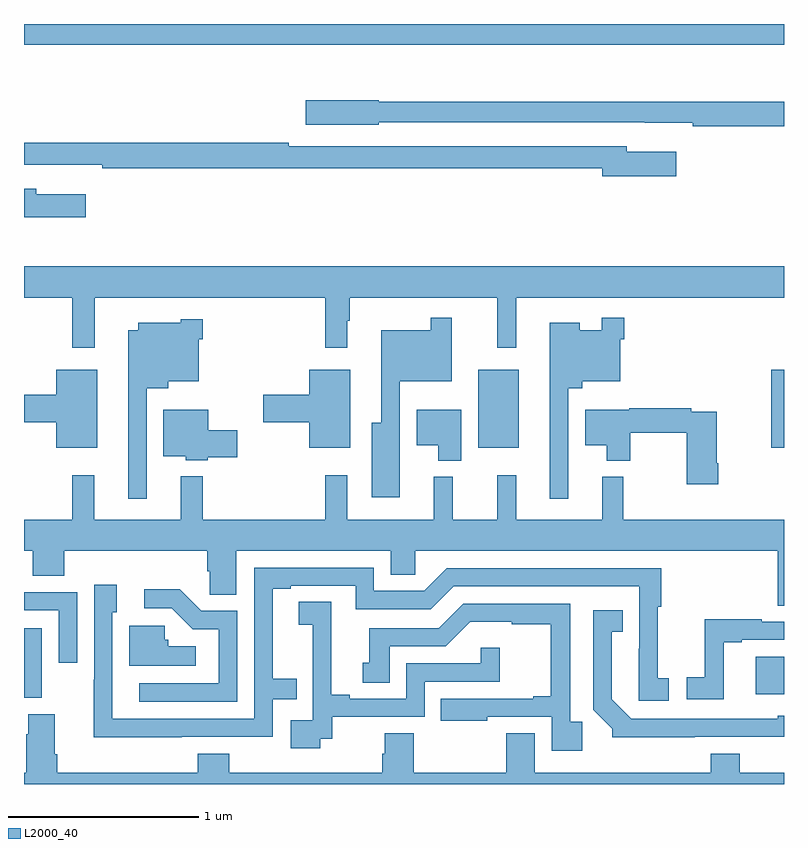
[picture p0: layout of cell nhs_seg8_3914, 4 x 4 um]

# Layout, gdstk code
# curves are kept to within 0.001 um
import gdstk
lib = gdstk.Library(unit=1e-6, precision=1e-09)
def R(c, l, rs):  # rectangles x0, y0, x1, y1
    for r in rs: c.add(gdstk.rectangle(r[:2], r[2:], *l))
def P(c, l, *ps):  # polygons
    for p in ps: c.add(gdstk.Polygon(p, *l))
L2000_40 = (2000, 40)

nhs_seg8_3914 = lib.new_cell('nhs_seg8_3914')
R(nhs_seg8_3914, L2000_40, [(351,1154.353,351.094,1154.719), (354.851,1154.372,355,1154.569), (353.39,1155.671,353.605,1156.081), (354.932,1155.671,355,1156.081), (351,1157.792,355,1157.9)])
P(nhs_seg8_3914, L2000_40, [(355,1157.491),(352.866,1157.491),(352.866,1157.499),(352.482,1157.499),(352.482,1157.369),(352.866,1157.369),(352.866,1157.382),(354.268,1157.382),(354.268,1157.381),(354.52,1157.381),(354.52,1157.362),(355,1157.362)],
  [(354.433,1157.227),(354.172,1157.227),(354.172,1157.256),(352.394,1157.256),(352.394,1157.276),(351,1157.276),(351,1157.16),(351.16,1157.16),(351.16,1157.159),(351.412,1157.159),(351.412,1157.14),(354.044,1157.14),(354.044,1157.098),(354.433,1157.098)],
  [(351.325,1157.005),(351.064,1157.005),(351.064,1157.034),(351,1157.034),(351,1156.883),(351.325,1156.883)],
  [(351.372,1156.46),(352.585,1156.46),(352.585,1156.197),(352.702,1156.197),(352.702,1156.337),(352.714,1156.337),(352.714,1156.46),(353.491,1156.46),(353.491,1156.197),(353.59,1156.197),(353.59,1156.46),(355,1156.46),(355,1156.624),(351,1156.624),(351,1156.46),(351.253,1156.46),(351.253,1156.197),(351.372,1156.197)],
  [(352.978,1156.019),(353.25,1156.019),(353.25,1156.354),(353.142,1156.354),(353.142,1156.288),(352.88,1156.288),(352.88,1155.802),(352.829,1155.802),(352.829,1155.41),(352.978,1155.41)],
  [(353.865,1155.983),(353.939,1155.983),(353.939,1156.019),(354.138,1156.019),(354.138,1156.241),(354.158,1156.241),(354.158,1156.354),(354.042,1156.354),(354.042,1156.288),(353.926,1156.288),(353.926,1156.327),(353.768,1156.327),(353.768,1155.402),(353.865,1155.402)],
  [(351.645,1155.983),(351.76,1155.983),(351.76,1156.019),(351.919,1156.019),(351.919,1156.241),(351.941,1156.241),(351.941,1156.345),(351.825,1156.345),(351.825,1156.327),(351.602,1156.327),(351.602,1156.288),(351.548,1156.288),(351.548,1155.402),(351.645,1155.402)],
  [(352.717,1156.081),(352.502,1156.081),(352.502,1155.95),(352.26,1155.95),(352.26,1155.803),(352.502,1155.803),(352.502,1155.671),(352.717,1155.671)],
  [(351.385,1156.081),(351.17,1156.081),(351.17,1155.95),(351,1155.95),(351,1155.803),(351.17,1155.803),(351.17,1155.671),(351.385,1155.671)],
  [(354.654,1155.589),(354.646,1155.589),(354.646,1155.858),(354.512,1155.858),(354.512,1155.878),(354.186,1155.878),(354.186,1155.871),(353.954,1155.871),(353.954,1155.683),(354.068,1155.683),(354.068,1155.602),(354.19,1155.602),(354.19,1155.75),(354.488,1155.75),(354.488,1155.477),(354.654,1155.477)],
  [(353.302,1155.871),(353.066,1155.871),(353.066,1155.683),(353.18,1155.683),(353.18,1155.602),(353.302,1155.602)],
  [(351.966,1155.619),(352.123,1155.619),(352.123,1155.761),(351.97,1155.761),(351.97,1155.871),(351.734,1155.871),(351.734,1155.626),(351.852,1155.626),(351.852,1155.605),(351.966,1155.605)],
  [(355,1155.292),(354.154,1155.292),(354.154,1155.517),(354.044,1155.517),(354.044,1155.292),(353.591,1155.292),(353.591,1155.526),(353.491,1155.526),(353.491,1155.292),(353.256,1155.292),(353.256,1155.517),(353.156,1155.517),(353.156,1155.292),(352.701,1155.292),(352.701,1155.526),(352.585,1155.526),(352.585,1155.292),(351.941,1155.292),(351.941,1155.52),(351.824,1155.52),(351.824,1155.292),(351.371,1155.292),(351.371,1155.526),(351.253,1155.526),(351.253,1155.292),(351,1155.292),(351,1155.128),(351.047,1155.128),(351.047,1154.995),(351.212,1154.995),(351.212,1155.128),(351.965,1155.128),(351.965,1155.019),(351.978,1155.019),(351.978,1154.896),(352.117,1154.896),(352.117,1155.128),(352.931,1155.128),(352.931,1155.001),(353.058,1155.001),(353.058,1155.128),(354.968,1155.128),(354.968,1154.839),(355,1154.839)],
  [(351.83,1154.148),(352.308,1154.148),(352.308,1154.346),(352.436,1154.346),(352.436,1154.455),(352.309,1154.455),(352.309,1154.928),(352.405,1154.928),(352.405,1154.943),(352.746,1154.943),(352.746,1154.82),(353.142,1154.82),(353.262,1154.94),(354.237,1154.94),(354.236,1154.337),(354.394,1154.337),(354.394,1154.457),(354.336,1154.457),(354.336,1154.833),(354.353,1154.833),(354.353,1155.036),(353.226,1155.036),(353.106,1154.916),(352.842,1154.916),(352.842,1155.039),(352.212,1155.039),(352.212,1154.244),(351.465,1154.244),(351.465,1154.805),(351.487,1154.805),(351.487,1154.95),(351.369,1154.95),(351.368,1154.147)],
  [(352.122,1154.811),(351.933,1154.811),(351.82,1154.924),(351.633,1154.924),(351.633,1154.826),(351.777,1154.826),(351.888,1154.715),(352.026,1154.715),(352.026,1154.43),(351.606,1154.43),(351.606,1154.334),(352.122,1154.334)],
  [(351.279,1154.91),(351,1154.91),(351,1154.814),(351.183,1154.814),(351.183,1154.538),(351.279,1154.538)],
  [(352.56,1154.139),(352.622,1154.139),(352.622,1154.253),(353.109,1154.253),(353.109,1154.439),(353.504,1154.439),(353.504,1154.617),(353.403,1154.617),(353.403,1154.535),(353.013,1154.535),(353.013,1154.349),(352.714,1154.349),(352.714,1154.369),(352.618,1154.369),(352.618,1154.747),(352.616,1154.747),(352.616,1154.858),(352.446,1154.858),(352.446,1154.737),(352.52,1154.737),(352.52,1154.539),(352.521,1154.539),(352.521,1154.235),(352.404,1154.235),(352.404,1154.088),(352.56,1154.088)],
  [(353.939,1154.227),(353.874,1154.227),(353.874,1154.85),(353.313,1154.85),(353.184,1154.721),(352.817,1154.721),(352.817,1154.538),(352.784,1154.538),(352.784,1154.434),(352.924,1154.434),(352.924,1154.625),(353.22,1154.625),(353.348,1154.753),(353.567,1154.753),(353.567,1154.742),(353.773,1154.742),(353.773,1154.362),(353.681,1154.362),(353.681,1154.349),(353.194,1154.349),(353.194,1154.234),(353.437,1154.234),(353.437,1154.253),(353.778,1154.253),(353.778,1154.076),(353.939,1154.076)],
  [(354.53,1154.148),(355,1154.148),(355,1154.26),(354.966,1154.26),(354.966,1154.244),(354.195,1154.244),(354.094,1154.345),(354.094,1154.702),(354.152,1154.702),(354.152,1154.815),(353.997,1154.815),(353.997,1154.29),(354.096,1154.191),(354.096,1154.147)],
  [(354.682,1154.646),(354.778,1154.646),(354.778,1154.658),(355,1154.658),(355,1154.754),(354.884,1154.754),(354.884,1154.767),(354.583,1154.767),(354.583,1154.462),(354.489,1154.462),(354.489,1154.346),(354.682,1154.346)],
  [(351.904,1154.626),(351.76,1154.626),(351.76,1154.658),(351.741,1154.658),(351.741,1154.733),(351.554,1154.733),(351.554,1154.522),(351.904,1154.522)],
  [(355,1153.96),(354.766,1153.96),(354.766,1154.059),(354.614,1154.059),(354.614,1153.96),(353.689,1153.96),(353.689,1154.168),(353.537,1154.168),(353.537,1153.96),(353.051,1153.96),(353.051,1154.168),(352.898,1154.168),(352.898,1154.058),(352.886,1154.058),(352.886,1153.96),(352.079,1153.96),(352.079,1154.059),(351.914,1154.059),(351.914,1153.96),(351.176,1153.96),(351.176,1154.056),(351.163,1154.056),(351.163,1154.268),(351.023,1154.268),(351.023,1154.162),(351.011,1154.162),(351.011,1153.96),(351,1153.96),(351,1153.9),(355,1153.9)])

lib.write_gds('nhs_seg8_3914.gds')
